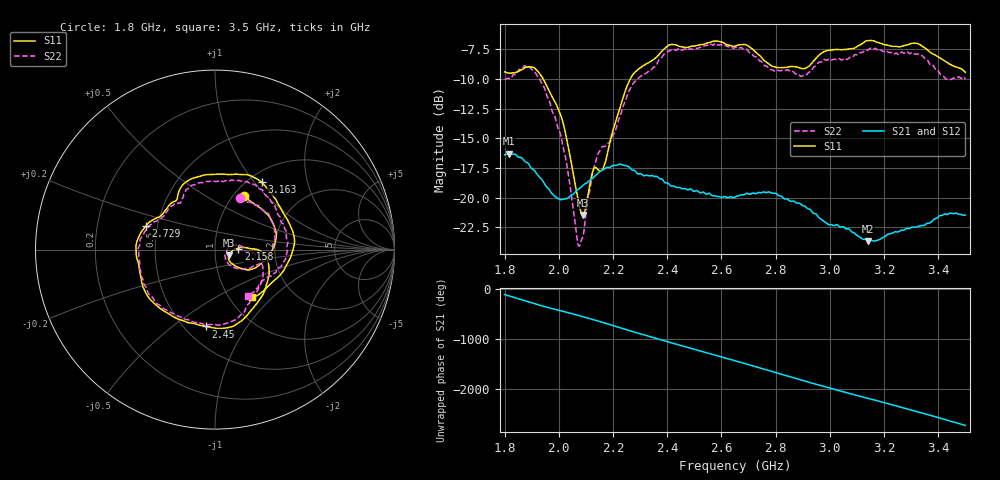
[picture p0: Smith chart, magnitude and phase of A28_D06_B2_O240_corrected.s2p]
! Created with skrf 1.9.0 (http://scikit-rf.org).
# Hz S RI R 50.0
!freq ReS11 ImS11 ReS21 ImS21 ReS12 ImS12 ReS22 ImS22
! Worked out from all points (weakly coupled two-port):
!   1601 points, 1.8 GHz to 3.5 GHz, reference 50 ohm
!   highest |S21| = -16.31 dB at 1.815 GHz (marker M1); lowest = -23.7 dB at 3.142 GHz (marker M2)
!   lowest |S11| = -21.5 dB at 2.089 GHz (marker M3), VSWR 1.18, Z = 58.4 - j3.74 ohm
!   |S11| at or under -10 dB: 1.942 GHz to 2.264 GHz (322 MHz wide, 15.3 % of centre)
!   |S22| runs from -24.1 to -7.0 dB; largest |S21 - S12| = 0.0025
!   S11 on the Smith chart (normalised r, x): 1.8 GHz: 1.13, +0.75; 2.158 GHz: 1.30, +0.01; 2.45 GHz: 0.63, -0.66; 2.729 GHz: 0.43, +0.14; 3.163 GHz: 1.15, +1.09; 3.5 GHz: 1.27, -0.76
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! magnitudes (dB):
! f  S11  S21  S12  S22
! 1.8 GHz  -9.4  -16.4  -16.4  -10.0
! 1.815 GHz  -9.5  -16.3  -16.3  -10.0
! 1.88 GHz  -9.0  -17.0  -17.0  -9.0
! 1.942 GHz  -10.0  -18.6  -18.6  -10.6
! 2.013 GHz  -13.4  -20.1  -20.1  -15.4
! 2.068 GHz  -19.8  -19.4  -19.4  -23.5
! 2.084 GHz  -21.3  -19.1  -19.0  -23.6
! 2.089 GHz  -21.5  -19.0  -19.0  -23.2
! 2.127 GHz  -17.7  -18.3  -18.3  -17.6
! 2.158 GHz  -17.7  -17.7  -17.7  -15.8
! 2.198 GHz  -14.4  -17.3  -17.3  -14.8
! 2.262 GHz  -10.1  -17.5  -17.5  -10.9
! 2.367 GHz  -8.0  -18.3  -18.3  -8.5
! 2.45 GHz  -7.3  -19.2  -19.2  -7.6
! 2.65 GHz  -7.3  -20.0  -19.9  -7.4
! 2.729 GHz  -7.8  -19.6  -19.7  -8.2
! 2.934 GHz  -8.7  -21.2  -21.1  -9.2
! 3.142 GHz  -6.8  -23.7  -23.5  -7.5
! 3.163 GHz  -6.8  -23.6  -23.6  -7.5
! 3.217 GHz  -7.2  -23.0  -23.0  -7.8
! 3.325 GHz  -7.0  -22.4  -22.4  -7.9
! 3.5 GHz  -9.5  -21.5  -21.4  -10.0
